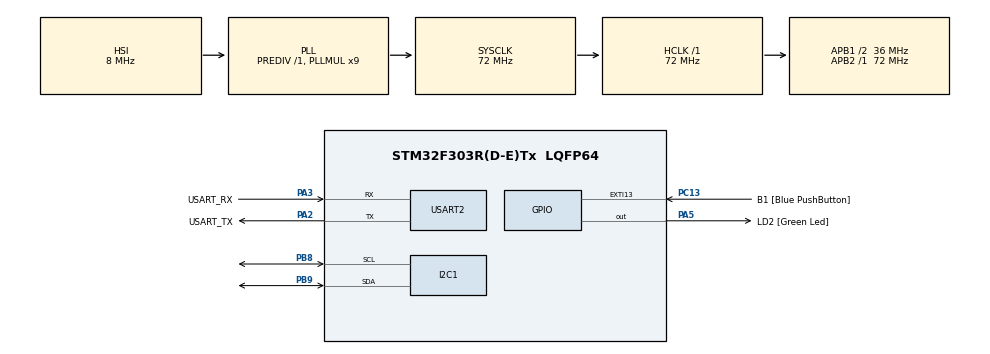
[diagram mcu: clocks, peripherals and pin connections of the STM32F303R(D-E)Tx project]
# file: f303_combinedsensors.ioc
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Mcu.Family=STM32F3
PC15-OSC32_OUT.Mode=LSE-External-Oscillator
PA2.GPIO_PuPd=GPIO_NOPULL
RCC.CortexFreq_Value=72000000
PC13.Signal=GPXTI13
PA14.GPIO_Label=TCK
RCC.SYSCLKSourceVirtual=RCC_SYSCLKSOURCE_PLLCLK
PA3.GPIO_PuPd=GPIO_NOPULL
PA2.GPIO_Speed=GPIO_SPEED_FREQ_LOW
PC13.GPIO_Label=B1 [Blue PushButton]
RCC.APB1CLKDivider=RCC_HCLK_DIV2
PC14-OSC32_IN.Signal=RCC_OSC32_IN
PA3.GPIO_Speed=GPIO_SPEED_FREQ_LOW
ProjectManager.StackSize=0x400
PA13.Signal=SYS_JTMS-SWDIO
PA3.Mode=Asynchronous
ProjectManager.TargetToolchain=STM32CubeIDE
PA3.GPIO_Mode=GPIO_MODE_AF_PP
RCC.HCLKFreq_Value=72000000
PB9.Mode=I2C
RCC.APB2TimFreq_Value=72000000
RCC.USBFreq_Value=72000000
PC15-OSC32_OUT.Signal=RCC_OSC32_OUT
RCC.AHBFreq_Value=72000000
PF0-OSC_IN.Mode=HSE-External-Clock-Source
PA5.Signal=GPIO_Output
RCC.HSE_VALUE=8000000
board=NUCLEO-F303RE
USART2.VirtualMode-Asynchronous=VM_ASYNC
RCC.RCC_PLLsource_Clock_Source_FROM_HSE=RCC_HSE_PREDIV_DIV2
RCC.PLLMUL=RCC_PLL_MUL9
RCC.APB2Freq_Value=72000000
PC14-OSC32_IN.Mode=LSE-External-Oscillator
PA14.Mode=Serial_Wire
PA5.GPIO_PuPd=GPIO_NOPULL
PA13.Mode=Serial_Wire
Mcu.Name=STM32F303R(D-E)Tx
PA2.Signal=USART2_TX
PA13.GPIO_Label=TMS
PB3.Signal=SYS_JTDO-TRACESWO
RCC.SYSCLKFreq_VALUE=72000000
Mcu.Package=LQFP64
PB9.Signal=I2C1_SDA
PA5.GPIO_Label=LD2 [Green Led]
PC13.GPIO_ModeDefaultEXTI=GPIO_MODE_IT_FALLING
PA2.GPIO_Label=USART_TX
PA14.Signal=SYS_JTCK-SWCLK
ProjectManager.HeapSize=0x200
RCC.HSI_VALUE=8000000
RCC.PLLP=RCC_PLLP_DIV4
PA5.GPIO_Speed=GPIO_SPEED_FREQ_LOW
RCC.PLLQ=7
NVIC.PriorityGroup=NVIC_PRIORITYGROUP_0
RCC.PLLM=8
PB8.Mode=I2C
RCC.PLLN=336
RCC.APB1TimFreq_Value=72000000
PA2.Mode=Asynchronous
PB8.Signal=I2C1_SCL
PF0-OSC_IN.Signal=RCC_OSC_IN
RCC.APB1Freq_Value=36000000
PA5.GPIO_Mode=GPIO_MODE_OUTPUT_PP
PF1-OSC_OUT.Signal=RCC_OSC_OUT
PA3.GPIO_Label=USART_RX
PA3.Signal=USART2_RX
PA2.GPIO_Mode=GPIO_MODE_AF_PP
PB3.GPIO_Label=SWO

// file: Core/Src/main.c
/* USER CODE BEGIN Header */
/**
  ******************************************************************************
  * @file           : main.c
  * @brief          : Main program body
  ******************************************************************************
  * @attention
  *
  * <h2><center>&copy; Copyright (c) 2021 STMicroelectronics.
  * All rights reserved.</center></h2>
  *
  * This software component is licensed by ST under BSD 3-Clause license,
  * the "License"; You may not use this file except in compliance with the
  * License. You may obtain a copy of the License at:
  *                        opensource.org/licenses/BSD-3-Clause
  *
  ******************************************************************************
  */
/* USER CODE END Header */
#include "main.h"

/* USER CODE BEGIN Includes */
#include <stdio.h>
#include <string.h>
#include "lsm6dsr_reg.h"
#include "lps22hh_reg.h"

/* USER CODE END Includes */

/* USER CODE BEGIN PD */
#define		TX_BUF_DIM		1000

/* USER CODE END PD */

I2C_HandleTypeDef hi2c1;
UART_HandleTypeDef huart2;

/* USER CODE BEGIN PV */
static uint8_t tx_buffer[TX_BUF_DIM];

/* USER CODE END PV */

void SystemClock_Config(void);
static void MX_GPIO_Init(void);
static void MX_USART2_UART_Init(void);
static void MX_I2C1_Init(void);

/* USER CODE BEGIN 0 */

// LSM6DSR functions
extern stmdev_ctx_t lsm6dsr_init(void);
extern void get_acceleration(stmdev_ctx_t dev_ctx, float *acceleration_mg);
extern void get_angvelocity(stmdev_ctx_t dev_ctx, float *angular_rate_mdps);

// LPS22HH functions
extern stmdev_ctx_t lps22hh_init(void);
extern void get_pressure(stmdev_ctx_t dev_ctx,  float *pressure);
extern void get_temperature(stmdev_ctx_t dev_ctx,  float *temperature);

/* USER CODE END 0 */

int main(void)
{

  /* MCU Configuration--------------------------------------------------------*/

  /* Reset of all peripherals, Initializes the Flash interface and the Systick. */
  HAL_Init();

  /* Configure the system clock */
  SystemClock_Config();

  /* Initialize all configured peripherals */
  MX_GPIO_Init();
  MX_USART2_UART_Init();
  MX_I2C1_Init();
  /* USER CODE BEGIN 2 */

  // Initialize sensors
  stmdev_ctx_t dev_ctx_lsm = lsm6dsr_init();
  stmdev_ctx_t dev_ctx_lps = lps22hh_init();

  // Variables to store converted sensor data
  float acceleration[] = {0, 0, 0};
  float angular_rate[]= {0, 0, 0};
  float pressure = 0;
  float temperature = 0;

  /* USER CODE END 2 */

  /* Infinite loop */
  /* USER CODE BEGIN WHILE */
  while (1)
  {

	get_acceleration(dev_ctx_lsm, acceleration);
	get_angvelocity(dev_ctx_lsm, angular_rate);
	get_pressure(dev_ctx_lps, &pressure);
	get_temperature(dev_ctx_lps,  &temperature);

	sprintf((char *)tx_buffer, "Acceleration [mg]:%hu\t%hu\t%hu\r\nAngular rate [mdps]:%hu\t%hu\t%hu\r\nPressure [hPa]:%hu\t Temperature [degC]:%hu\r\n",
						  (uint16_t)acceleration[0], (uint16_t)acceleration[1], (uint16_t)acceleration[2],
						  (uint16_t)angular_rate[0], (uint16_t)angular_rate[1], (uint16_t)angular_rate[2],
						  (uint16_t)pressure, (uint16_t)temperature);
	HAL_UART_Transmit(&huart2, tx_buffer, strlen((char const *)tx_buffer ), 1000);

	HAL_Delay(1000);

    /* USER CODE END WHILE */

  }
}

void SystemClock_Config(void)
{
  RCC_OscInitTypeDef RCC_OscInitStruct = {0};
  RCC_ClkInitTypeDef RCC_ClkInitStruct = {0};
  RCC_PeriphCLKInitTypeDef PeriphClkInit = {0};

  /** Initializes the RCC Oscillators according to the specified parameters
  * in the RCC_OscInitTypeDef structure.
  */
  RCC_OscInitStruct.OscillatorType = RCC_OSCILLATORTYPE_HSI;
  RCC_OscInitStruct.HSIState = RCC_HSI_ON;
  RCC_OscInitStruct.HSICalibrationValue = RCC_HSICALIBRATION_DEFAULT;
  RCC_OscInitStruct.PLL.PLLState = RCC_PLL_ON;
  RCC_OscInitStruct.PLL.PLLSource = RCC_PLLSOURCE_HSI;
  RCC_OscInitStruct.PLL.PLLMUL = RCC_PLL_MUL9;
  RCC_OscInitStruct.PLL.PREDIV = RCC_PREDIV_DIV1;
  if (HAL_RCC_OscConfig(&RCC_OscInitStruct) != HAL_OK)
  {
    Error_Handler();
  }
  /** Initializes the CPU, AHB and APB buses clocks
  */
  RCC_ClkInitStruct.ClockType = RCC_CLOCKTYPE_HCLK|RCC_CLOCKTYPE_SYSCLK
                              |RCC_CLOCKTYPE_PCLK1|RCC_CLOCKTYPE_PCLK2;
  RCC_ClkInitStruct.SYSCLKSource = RCC_SYSCLKSOURCE_PLLCLK;
  RCC_ClkInitStruct.AHBCLKDivider = RCC_SYSCLK_DIV1;
  RCC_ClkInitStruct.APB1CLKDivider = RCC_HCLK_DIV2;
  RCC_ClkInitStruct.APB2CLKDivider = RCC_HCLK_DIV1;

  if (HAL_RCC_ClockConfig(&RCC_ClkInitStruct, FLASH_LATENCY_2) != HAL_OK)
  {
    Error_Handler();
  }
  PeriphClkInit.PeriphClockSelection = RCC_PERIPHCLK_USART2|RCC_PERIPHCLK_I2C1;
  PeriphClkInit.Usart2ClockSelection = RCC_USART2CLKSOURCE_PCLK1;
  PeriphClkInit.I2c1ClockSelection = RCC_I2C1CLKSOURCE_HSI;
  if (HAL_RCCEx_PeriphCLKConfig(&PeriphClkInit) != HAL_OK)
  {
    Error_Handler();
  }
}

static void MX_I2C1_Init(void)
{

  hi2c1.Instance = I2C1;
  hi2c1.Init.Timing = 0x2000090E;
  hi2c1.Init.OwnAddress1 = 0;
  hi2c1.Init.AddressingMode = I2C_ADDRESSINGMODE_7BIT;
  hi2c1.Init.DualAddressMode = I2C_DUALADDRESS_DISABLE;
  hi2c1.Init.OwnAddress2 = 0;
  hi2c1.Init.OwnAddress2Masks = I2C_OA2_NOMASK;
  hi2c1.Init.GeneralCallMode = I2C_GENERALCALL_DISABLE;
  hi2c1.Init.NoStretchMode = I2C_NOSTRETCH_DISABLE;
  if (HAL_I2C_Init(&hi2c1) != HAL_OK)
  {
    Error_Handler();
  }
  /** Configure Analogue filter
  */
  if (HAL_I2CEx_ConfigAnalogFilter(&hi2c1, I2C_ANALOGFILTER_ENABLE) != HAL_OK)
  {
    Error_Handler();
  }
  /** Configure Digital filter
  */
  if (HAL_I2CEx_ConfigDigitalFilter(&hi2c1, 0) != HAL_OK)
  {
    Error_Handler();
  }

}

static void MX_USART2_UART_Init(void)
{

  huart2.Instance = USART2;
  huart2.Init.BaudRate = 38400;
  huart2.Init.WordLength = UART_WORDLENGTH_8B;
  huart2.Init.StopBits = UART_STOPBITS_1;
  huart2.Init.Parity = UART_PARITY_NONE;
  huart2.Init.Mode = UART_MODE_TX_RX;
  huart2.Init.HwFlowCtl = UART_HWCONTROL_NONE;
  huart2.Init.OverSampling = UART_OVERSAMPLING_16;
  huart2.Init.OneBitSampling = UART_ONE_BIT_SAMPLE_DISABLE;
  huart2.AdvancedInit.AdvFeatureInit = UART_ADVFEATURE_NO_INIT;
  if (HAL_UART_Init(&huart2) != HAL_OK)
  {
    Error_Handler();
  }

}

static void MX_GPIO_Init(void)
{
  GPIO_InitTypeDef GPIO_InitStruct = {0};

  /* GPIO Ports Clock Enable */
  __HAL_RCC_GPIOC_CLK_ENABLE();
  __HAL_RCC_GPIOF_CLK_ENABLE();
  __HAL_RCC_GPIOA_CLK_ENABLE();
  __HAL_RCC_GPIOB_CLK_ENABLE();

  /*Configure GPIO pin Output Level */
  HAL_GPIO_WritePin(LD2_GPIO_Port, LD2_Pin, GPIO_PIN_RESET);

  /*Configure GPIO pin : B1_Pin */
  GPIO_InitStruct.Pin = B1_Pin;
  GPIO_InitStruct.Mode = GPIO_MODE_IT_FALLING;
  GPIO_InitStruct.Pull = GPIO_NOPULL;
  HAL_GPIO_Init(B1_GPIO_Port, &GPIO_InitStruct);

  /*Configure GPIO pin : LD2_Pin */
  GPIO_InitStruct.Pin = LD2_Pin;
  GPIO_InitStruct.Mode = GPIO_MODE_OUTPUT_PP;
  GPIO_InitStruct.Pull = GPIO_NOPULL;
  GPIO_InitStruct.Speed = GPIO_SPEED_FREQ_LOW;
  HAL_GPIO_Init(LD2_GPIO_Port, &GPIO_InitStruct);

}

void Error_Handler(void)
{
}

/************************ (C) COPYRIGHT STMicroelectronics *****END OF FILE****/
